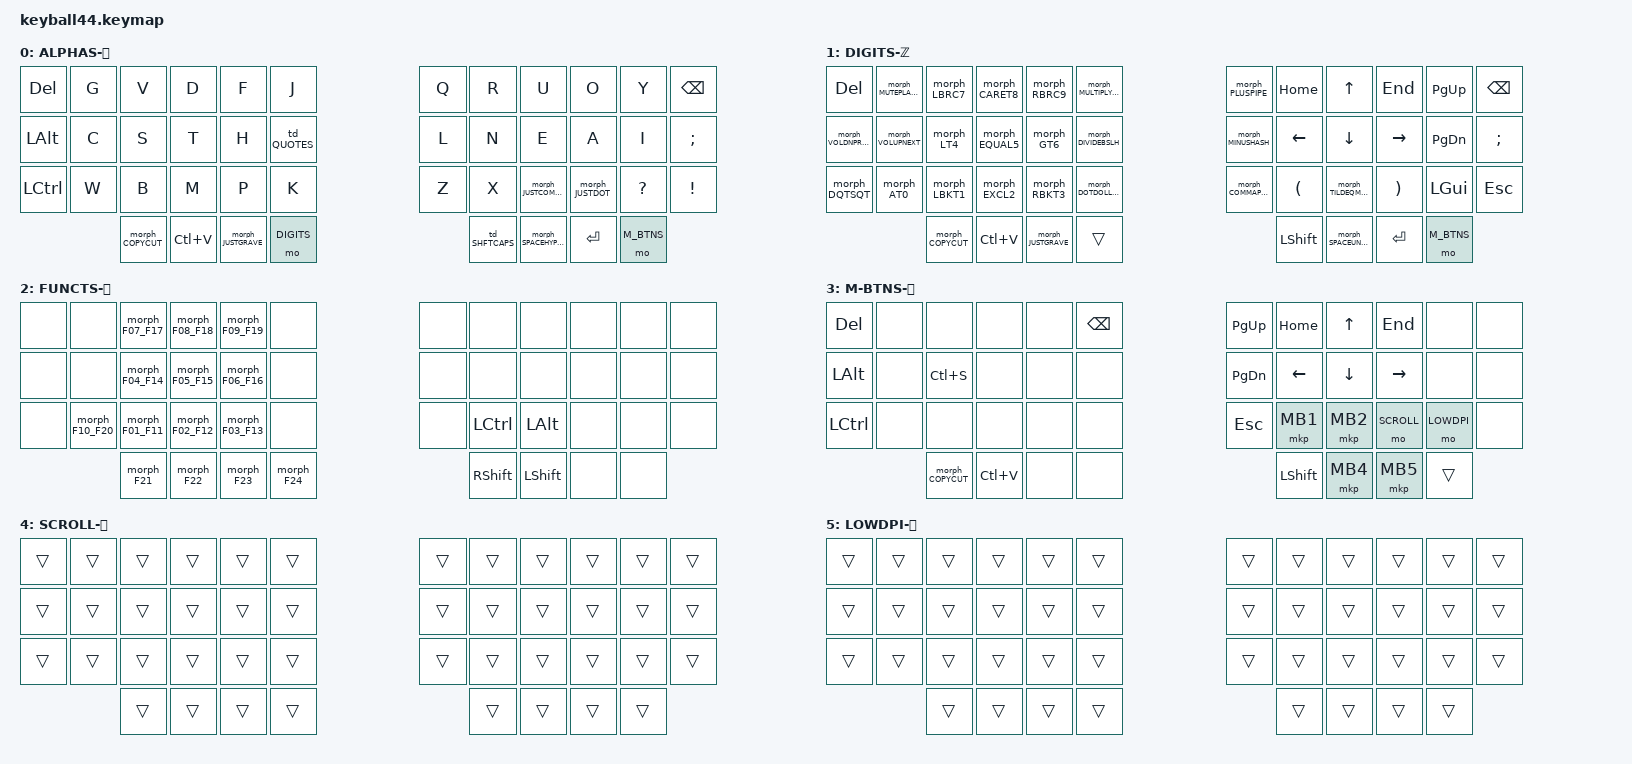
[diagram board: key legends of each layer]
#define ALPHAS 0
#define DIGITS 1
#define FUNCTS 2
#define M_BTNS 3
#define SCROLL 4
#define LOWDPI 5

#include <behaviors/mouse_keys.dtsi>
#include <behaviors/unicode.dtsi>
#include <behaviors.dtsi>
#include <dt-bindings/zmk/bt.h>
#include <dt-bindings/zmk/keys.h>
#include <dt-bindings/zmk/mouse.h>
//#include <input/processors.dtsi>

&uc {
    default-mode = <UC_MODE_LINUX>;
    minimum-length = <0>;
};

&sl {
    release-after-ms = <5000>;
    ignore-modifiers;
};

&caps_word {
    continue-list = <
        BACKSPACE
        DEL
        SPACE
        ENTER
        TAB
        UNDERSCORE
        COMMA
        DOT
        SEMI
        QMARK
        EXCL
        MINUS
        APOS
    >;
};

/ {

    behaviors {
        // --------------- ALPHAS ----------------
        morph_JUSTDOT: morph_just_dot {
            compatible = "zmk,behavior-mod-morph";
            #binding-cells = <0>;
            bindings = <&kp DOT>, <&kp DOT>;
            mods = <(MOD_LSFT)>;
        };
        morph_JUSTCOMMA: morph_just_comma {
            compatible = "zmk,behavior-mod-morph";
            #binding-cells = <0>;
            bindings = <&kp COMMA>, <&kp COMMA>;
            mods = <(MOD_LSFT)>;
        };
        morph_JUSTGRAVE: morph_just_grave {
            compatible = "zmk,behavior-mod-morph";
            #binding-cells = <0>;
            bindings = <&kp GRAVE>, <&kp GRAVE>;
            mods = <(MOD_LSFT)>;
        };
        morph_TILDEQMARK: morph_tilde_qmark {
            compatible = "zmk,behavior-mod-morph";
            #binding-cells = <0>;
            bindings = <&kp TILDE>, <&kp QMARK>;
            mods = <(MOD_LSFT)>;
        };
        morph_DQTSQT: morph_doublequote_singlequote {
            compatible = "zmk,behavior-mod-morph";
            #binding-cells = <0>;
            bindings = <&kp DQT>, <&kp SQT>;
            mods = <(MOD_LSFT)>;
        };
        morph_SPACEUNDER: morph_space_underscore {
            compatible = "zmk,behavior-mod-morph";
            #binding-cells = <0>;
            bindings = <&kp SPACE>, <&kp UNDER>;
            mods = <(MOD_LSFT)>;
        };
        morph_SPACEHYPHEN: morph_space_hyphen {
            compatible = "zmk,behavior-mod-morph";
            #binding-cells = <0>;
            bindings = <&kp SPACE>, <&kp KP_MINUS>;
            mods = <(MOD_LSFT)>;
        };
        // -------------- SHORTCUTS --------------
        morph_COPYCUT: morph_copy_cut {
            compatible = "zmk,behavior-mod-morph";
            #binding-cells = <0>;
            bindings = <&kp LC(C)>, <&kp LC(X)>;
            mods = <(MOD_LSFT)>;
        };

        // --------------- NUMPAD ----------------
        morph_AT0: morph_at_zero {
            compatible = "zmk,behavior-mod-morph";
            #binding-cells = <0>;
            bindings = <&kp N0>, <&kp AT>;
            mods = <(MOD_LSFT)>;
        };
        morph_LBKT1: morph_leftbracket_one {
            compatible = "zmk,behavior-mod-morph";
            #binding-cells = <0>;
            bindings = <&kp N1>, <&kp LBKT>;
            mods = <(MOD_LSFT)>;
        };
        morph_EXCL2: morph_exclamation_two {
            compatible = "zmk,behavior-mod-morph";
            #binding-cells = <0>;
            bindings = <&kp N2>, <&kp EXCL>;
            mods = <(MOD_LSFT)>;
        };
        morph_RBKT3: morph_rightbracket_three {
            compatible = "zmk,behavior-mod-morph";
            #binding-cells = <0>;
            bindings = <&kp N3>, <&kp RBKT>;
            mods = <(MOD_LSFT)>;
        };
        morph_LT4: morph_lessthan_four {
            compatible = "zmk,behavior-mod-morph";
            #binding-cells = <0>;
            bindings = <&kp N4>, <&kp LT>;
            mods = <(MOD_LSFT)>;
        };
        morph_EQUAL5: morph_equal_five {
            compatible = "zmk,behavior-mod-morph";
            #binding-cells = <0>;
            bindings = <&kp N5>, <&kp EQUAL>;
            mods = <(MOD_LSFT)>;
        };
        morph_GT6: morph_greaterthan_six {
            compatible = "zmk,behavior-mod-morph";
            #binding-cells = <0>;
            bindings = <&kp N6>, <&kp GT>;
            mods = <(MOD_LSFT)>;
        };
        morph_LBRC7: morph_leftbrace_seven {
            compatible = "zmk,behavior-mod-morph";
            #binding-cells = <0>;
            bindings = <&kp N7>, <&kp LBRC>;
            mods = <(MOD_LSFT)>;
        };
        morph_CARET8: morph_caret_eight {
            compatible = "zmk,behavior-mod-morph";
            #binding-cells = <0>;
            bindings = <&kp N8>, <&kp CARET>;
            mods = <(MOD_LSFT)>;
        };
        morph_RBRC9: morph_rightbrace_nine {
            compatible = "zmk,behavior-mod-morph";
            #binding-cells = <0>;
            bindings = <&kp N9>, <&kp RBRC>;
            mods = <(MOD_LSFT)>;
        };

        // ---------- NUMPAD OPERATORS -----------
        morph_MULTIPLYAMPS: morph_multiply_logical_and {
            compatible = "zmk,behavior-mod-morph";
            #binding-cells = <0>;
            bindings = <&kp KP_MULTIPLY>, <&kp AMPS>;
            mods = <(MOD_LSFT)>;
        };
        morph_DIVIDEBSLH: morph_forwardslash_backslash {
            compatible = "zmk,behavior-mod-morph";
            #binding-cells = <0>;
            bindings = <&kp KP_DIVIDE>, <&kp BSLH>;
            mods = <(MOD_LSFT)>;
        };
        morph_PLUSPIPE: morph_plus_logical_or {
            compatible = "zmk,behavior-mod-morph";
            #binding-cells = <0>;
            bindings = <&kp KP_PLUS>, <&kp PIPE>;
            mods = <(MOD_LSFT)>;
        };
        morph_MINUSHASH: morph_minus_hash {
            compatible = "zmk,behavior-mod-morph";
            #binding-cells = <0>;
            bindings = <&kp KP_MINUS>, <&kp HASH>;
            mods = <(MOD_LSFT)>;
        };
        morph_DOTDOLLAR: morph_dot_dollar {
            compatible = "zmk,behavior-mod-morph";
            #binding-cells = <0>;
            bindings = <&kp DOT>, <&kp DOLLAR>;
            mods = <(MOD_LSFT)>;
        };
        morph_COMMAPERCENT: morph_comma_percent {
            compatible = "zmk,behavior-mod-morph";
            #binding-cells = <0>;
            bindings = <&kp COMMA>, <&kp PERCENT>;
            mods = <(MOD_LSFT)>;
        };

        // --------------- FUNCTS ----------------
        morph_F01_F11: morph_f01_f11 {
            compatible = "zmk,behavior-mod-morph";
            #binding-cells = <0>;
            bindings = <&kp F1>, <&kp F11>;
            mods = <(MOD_RSFT)>;
        };
        morph_F02_F12: morph_f02_f12 {
            compatible = "zmk,behavior-mod-morph";
            #binding-cells = <0>;
            bindings = <&kp F2>, <&kp F12>;
            mods = <(MOD_RSFT)>;
        };
        morph_F03_F13: morph_f03_f13 {
            compatible = "zmk,behavior-mod-morph";
            #binding-cells = <0>;
            bindings = <&kp F3>, <&kp F13>;
            mods = <(MOD_RSFT)>;
        };
        morph_F04_F14: morph_f04_f14 {
            compatible = "zmk,behavior-mod-morph";
            #binding-cells = <0>;
            bindings = <&kp F4>, <&kp F14>;
            mods = <(MOD_RSFT)>;
        };
        morph_F05_F15: morph_f05_f15 {
            compatible = "zmk,behavior-mod-morph";
            #binding-cells = <0>;
            bindings = <&kp F5>, <&kp F15>;
            mods = <(MOD_RSFT)>;
        };
        morph_F06_F16: morph_f06_f16 {
            compatible = "zmk,behavior-mod-morph";
            #binding-cells = <0>;
            bindings = <&kp F6>, <&kp F16>;
            mods = <(MOD_RSFT)>;
        };
        morph_F07_F17: morph_f07_f17 {
            compatible = "zmk,behavior-mod-morph";
            #binding-cells = <0>;
            bindings = <&kp F7>, <&kp F17>;
            mods = <(MOD_RSFT)>;
        };
        morph_F08_F18: morph_f08_f18 {
            compatible = "zmk,behavior-mod-morph";
            #binding-cells = <0>;
            bindings = <&kp F8>, <&kp F18>;
            mods = <(MOD_RSFT)>;
        };
        morph_F09_F19: morph_f09_f19 {
            compatible = "zmk,behavior-mod-morph";
            #binding-cells = <0>;
            bindings = <&kp F9>, <&kp F19>;
            mods = <(MOD_RSFT)>;
        };
        morph_F10_F20: morph_f10_f20 {
            compatible = "zmk,behavior-mod-morph";
            #binding-cells = <0>;
            bindings = <&kp F10>, <&kp F20>;
            mods = <(MOD_RSFT)>;
        };
        morph_F21: morph_f21 {
            compatible = "zmk,behavior-mod-morph";
            #binding-cells = <0>;
            bindings = <&kp F21>, <&kp F21>;
            mods = <(MOD_RSFT)>;
        };
        morph_F22: morph_f22 {
            compatible = "zmk,behavior-mod-morph";
            #binding-cells = <0>;
            bindings = <&kp F22>, <&kp F22>;
            mods = <(MOD_RSFT)>;
        };
        morph_F23: morph_f23 {
            compatible = "zmk,behavior-mod-morph";
            #binding-cells = <0>;
            bindings = <&kp F23>, <&kp F23>;
            mods = <(MOD_RSFT)>;
        };
        morph_F24: morph_f24 {
            compatible = "zmk,behavior-mod-morph";
            #binding-cells = <0>;
            bindings = <&kp F24>, <&kp F24>;
            mods = <(MOD_RSFT)>;
        };

        // ---------------- MEDIA ----------------
        morph_MUTEPLAYPAUSE: morph_mute_playpause {
            compatible = "zmk,behavior-mod-morph";
            #binding-cells = <0>;
            bindings = <&kp C_MUTE>, <&kp C_PLAY_PAUSE>;
            mods = <(MOD_LSFT)>;
        };
        morph_VOLDNPREV: morph_volumedown_previous {
            compatible = "zmk,behavior-mod-morph";
            #binding-cells = <0>;
            bindings = <&kp C_VOL_DN>, <&kp C_PREV>;
            mods = <(MOD_LSFT)>;
        };
        morph_VOLUPNEXT: morph_volumeup_next {
            compatible = "zmk,behavior-mod-morph";
            #binding-cells = <0>;
            bindings = <&kp C_VOL_UP>, <&kp C_NEXT>;
            mods = <(MOD_LSFT)>;
        };

        // -------------- TAPDANCE ---------------
        td_SHFTCAPS: td_shiftcaps {
            compatible = "zmk,behavior-tap-dance";
            #binding-cells = <0>;
            tapping-term-ms = <200>;
            bindings =
                <&kp LSHFT>,
                <&caps_word>,
                <&kp CAPS>;
        };
        td_QUOTES: td_quotes {
            compatible = "zmk,behavior-tap-dance";
            #binding-cells = <0>;
            tapping-term-ms = <150>;
            bindings =
                <&kp SQT>,
                <&kp DQT>;
        };
    };

    combos {
        compatible = "zmk,combos";
        combo_tab {
            timeout-ms = <100>;
            key-positions = <41 42>;
            layers = <ALPHAS>;
            bindings = <&kp TAB>;
        };
        combo_emdash {
            timeout-ms = <100>;
            key-positions = <41 42>;
            layers = <DIGITS>;
            bindings = <&uc 0x2014 0>;
        };
        combo_functions_layer {
            timeout-ms = <20>;
            key-positions = <36 37>;
            layers = <ALPHAS>;
            bindings = <&sl FUNCTS>;
        };
        combo_functions_layer_trans_marker { // for keymap svg
            timeout-ms = <20>;
            key-positions = <36 37>;
            layers = <FUNCTS>;
            bindings = <&trans>;
        };
        combo_middle_click {
            timeout-ms = <100>;
            key-positions = <31 32>;
            layers = <M_BTNS>;
            bindings = <&mkp MB3>;
        };
        combo_left_ascii_arrow {
            timeout-ms = <15>;
            key-positions = <14 15>;
            layers = <DIGITS>;
            bindings = <&macro_left_ascii_arrow>;
        };
        combo_right_ascii_arrow {
            timeout-ms = <15>;
            key-positions = <15 16>;
            layers = <DIGITS>;
            bindings = <&macro_right_ascii_arrow>;
        };
        combo_html_comment {
            timeout-ms = <15>;
            key-positions = <14 15 16>;
            layers = <DIGITS>;
            bindings = <&macro_html_comment>;
        };
    };

    macros {
        macro_left_ascii_arrow: macro_left_ascii_arrow {
            compatible = "zmk,behavior-macro";
            #binding-cells = <0>;
            bindings = <&macro_tap &kp LT>, <&macro_tap &kp MINUS>;
        };
        macro_right_ascii_arrow: macro_right_ascii_arrow {
            compatible = "zmk,behavior-macro";
            #binding-cells = <0>;
            bindings = <&macro_tap &kp MINUS>, <&macro_tap &kp GT>;
        };
        macro_html_comment: macro_html_comment {
            compatible = "zmk,behavior-macro";
            #binding-cells = <0>;
            bindings
                = <&macro_tap &kp LT>
                , <&macro_tap &kp EXCL>
                , <&macro_tap &kp MINUS>
                , <&macro_tap &kp MINUS>
                , <&macro_tap &kp SPACE>
                , <&macro_tap &kp SPACE>
                , <&macro_tap &kp MINUS>
                , <&macro_tap &kp MINUS>
                , <&macro_tap &kp GT>
                , <&macro_tap &kp LEFT>
                , <&macro_tap &kp LEFT>
                , <&macro_tap &kp LEFT>
                , <&macro_tap &kp LEFT>
                ;
        };
    };

    // key-position reference:
    // 0   1  2  3  4  5          6  7  8  9 10 11
    // 12 13 14 15 16 17         18 19 20 21 22 23
    // 24 25 26 27 28 29         30 31 32 33 34 35
    //       36 37 38 39 40   41 42          43

    keymap {
        compatible = "zmk,keymap";
// ----------------------------------------------------------------------------------------------------------------------------------------- LAYER: ALPHAS ------------------------------------------------------------------------------------------------------------------------------------------
        default_layer {
            label = "ALPHAS-𝜶";
            bindings = <
&kp DEL               &kp G                 &kp V                 &kp D                 &kp F                 &kp J                                                             &kp Q                 &kp R                 &kp U                 &kp O                 &kp Y                 &kp BACKSPACE
&kp LALT              &kp C                 &kp S                 &kp T                 &kp H                 &td_QUOTES                                                        &kp L                 &kp N                 &kp E                 &kp A                 &kp I                 &kp SEMI
&kp LCTRL             &kp W                 &kp B                 &kp M                 &kp P                 &kp K                                                             &kp Z                 &kp X                 &morph_JUSTCOMMA      &morph_JUSTDOT        &kp QMARK             &kp EXCL
                                            &morph_COPYCUT        &kp LC(V)             &morph_JUSTGRAVE      &mo DIGITS            &td_SHFTCAPS          &morph_SPACEHYPHEN    &kp ENTER                                                                               &mo M_BTNS
            >;
        };
// ----------------------------------------------------------------------------------------------------------------------------------------- LAYER: DIGITS ------------------------------------------------------------------------------------------------------------------------------------------
        number_layer {
            label = "DIGITS-ℤ";
            bindings = <
&kp DEL               &morph_MUTEPLAYPAUSE  &morph_LBRC7          &morph_CARET8         &morph_RBRC9          &morph_MULTIPLYAMPS                                               &morph_PLUSPIPE       &kp HOME              &kp UP                &kp END               &kp PG_UP             &kp BACKSPACE
&morph_VOLDNPREV      &morph_VOLUPNEXT      &morph_LT4            &morph_EQUAL5         &morph_GT6            &morph_DIVIDEBSLH                                                 &morph_MINUSHASH      &kp LEFT              &kp DOWN              &kp RIGHT             &kp PG_DN             &kp SEMI
&morph_DQTSQT         &morph_AT0            &morph_LBKT1          &morph_EXCL2          &morph_RBKT3          &morph_DOTDOLLAR                                                  &morph_COMMAPERCENT   &kp LPAR              &morph_TILDEQMARK     &kp RPAR              &kp LGUI              &kp ESC
                                            &morph_COPYCUT        &kp LC(V)             &morph_JUSTGRAVE      &trans                &kp LSHFT             &morph_SPACEUNDER     &kp ENTER                                                                               &mo M_BTNS
            >;
        };
// ----------------------------------------------------------------------------------------------------------------------------------------- LAYER: FUNCTS ------------------------------------------------------------------------------------------------------------------------------------------
        function_layer {
            label = "FUNCTS-𝒇";
            bindings = <
&none                 &none                 &morph_F07_F17        &morph_F08_F18        &morph_F09_F19        &none                                                             &none                 &none                 &none                 &none                 &none                 &none
&none                 &none                 &morph_F04_F14        &morph_F05_F15        &morph_F06_F16        &none                                                             &none                 &none                 &none                 &none                 &none                 &none
&none                 &morph_F10_F20        &morph_F01_F11        &morph_F02_F12        &morph_F03_F13        &none                                                             &none                 &kp LCTRL             &kp LALT              &none                 &none                 &none
                                            &morph_F21            &morph_F22            &morph_F23            &morph_F24            &kp RSHFT             &kp LSHFT             &none                                                                                   &none
            >;
        };
// ----------------------------------------------------------------------------------------------------------------------------------------- LAYER: M_BTNS ------------------------------------------------------------------------------------------------------------------------------------------
        mouse_button_layer {
            label = "M-BTNS-🖰";
            bindings = <
&kp DEL               &none                 &none                 &none                 &none                 &kp BACKSPACE                                                     &kp PG_UP             &kp HOME              &kp UP                &kp END               &none                 &none
&kp LALT              &none                 &kp LC(S)             &none                 &none                 &none                                                             &kp PG_DN             &kp LEFT              &kp DOWN              &kp RIGHT             &none                 &none
&kp LCTRL             &none                 &none                 &none                 &none                 &none                                                             &kp ESC               &mkp MB1              &mkp MB2              &mo SCROLL            &mo LOWDPI            &none
                                            &morph_COPYCUT        &kp LC(V)             &none                 &none                 &kp LSHFT             &mkp MB4              &mkp MB5                                                                                &trans
            >;
        };
// ----------------------------------------------------------------------------------------------------------------------------------------- LAYER: SCROLL ------------------------------------------------------------------------------------------------------------------------------------------
        scroll_layer {
            label = "SCROLL-🡙";
            bindings = <
&trans                &trans                &trans                &trans                &trans                &trans                                                            &trans                &trans                &trans                &trans                &trans                &trans
&trans                &trans                &trans                &trans                &trans                &trans                                                            &trans                &trans                &trans                &trans                &trans                &trans
&trans                &trans                &trans                &trans                &trans                &trans                                                            &trans                &trans                &trans                &trans                &trans                &trans
                                            &trans                &trans                &trans                &trans                &trans                &trans                &trans                                                                                  &trans
            >;
        };
// ----------------------------------------------------------------------------------------------------------------------------------------- LAYER: LOWDPI ------------------------------------------------------------------------------------------------------------------------------------------
        snipe_layer {
            label = "LOWDPI-🕀";
            bindings = <
&trans                &trans                &trans                &trans                &trans                &trans                                                            &trans                &trans                &trans                &trans                &trans                &trans
&trans                &trans                &trans                &trans                &trans                &trans                                                            &trans                &trans                &trans                &trans                &trans                &trans
&trans                &trans                &trans                &trans                &trans                &trans                                                            &trans                &trans                &trans                &trans                &trans                &trans
                                            &trans                &trans                &trans                &trans                &trans                &trans                &trans                                                                                  &trans
            >;
        };
    };
};



// ------------------------------------------------------------------------------------------------------------------------------ EMPTY LAYER TEMPLATES FOR COPY-PASTE -----------------------------------------------------------------------------------------------------------------------------
//
// &trans                &trans                &trans                &trans                &trans                &trans                                                            &trans                &trans                &trans                &trans                &trans                &trans
// &trans                &trans                &trans                &trans                &trans                &trans                                                            &trans                &trans                &trans                &trans                &trans                &trans
// &trans                &trans                &trans                &trans                &trans                &trans                                                            &trans                &trans                &trans                &trans                &trans                &trans
//                                             &trans                &trans                &trans                &trans                &trans                &trans                &trans                                                                                  &trans
//
// &none                 &none                 &none                 &none                 &none                 &none                                                             &none                 &none                 &none                 &none                 &none                 &none
// &none                 &none                 &none                 &none                 &none                 &none                                                             &none                 &none                 &none                 &none                 &none                 &none
// &none                 &none                 &none                 &none                 &none                 &none                                                             &none                 &none                 &none                 &none                 &none                 &none
//                                             &none                 &none                 &none                 &none                 &none                 &none                 &none                                                                                   &none
//
// &kp X                 &kp X                 &kp X                 &kp X                 &kp X                 &kp X                                                             &kp X                 &kp X                 &kp X                 &kp X                 &kp X                 &kp X
// &kp X                 &kp X                 &kp X                 &kp X                 &kp X                 &kp X                                                             &kp X                 &kp X                 &kp X                 &kp X                 &kp X                 &kp X
// &kp X                 &kp X                 &kp X                 &kp X                 &kp X                 &kp X                                                             &kp X                 &kp X                 &kp X                 &kp X                 &kp X                 &kp X
//                                             &kp X                 &kp X                 &kp X                 &kp X                 &kp X                 &kp X                 &kp X                                                                                   &kp X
